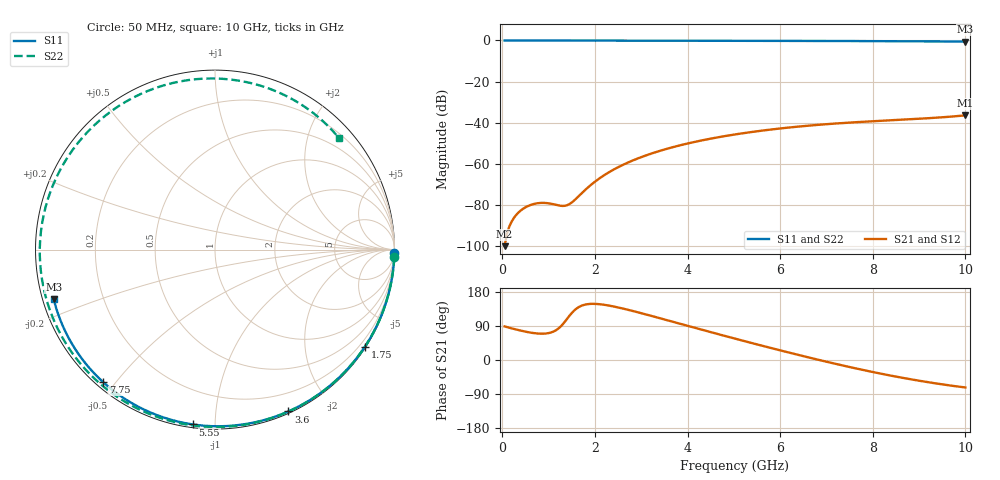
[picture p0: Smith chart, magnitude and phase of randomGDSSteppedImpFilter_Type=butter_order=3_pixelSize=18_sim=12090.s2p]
! freq	dB(S11)	phase(S11)	dB(S12)	phase(S12)
!  dB(S21)	phase(S21)	dB(S22)	phase(S22)
!S-par simulation data
#  GHz  S  DB  R 50
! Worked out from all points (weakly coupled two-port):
!   200 points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, 50 MHz to 10 GHz, reference 50 ohm
!   highest |S21| = -36.36 dB at 10 GHz (marker M1); lowest = -99.9 dB at 50 MHz (marker M2)
!   lowest |S11| = -0.5 dB at 10 GHz (marker M3), VSWR 32.47, Z = 1.57 - j7.52 ohm
!   |S11| at or under -10 dB: nowhere
!   |S22| runs from -0.6 to 0.0 dB; largest |S21 - S12| = 0
!   S11 on the Smith chart (normalised r, x): 50 MHz: open; 1.75 GHz: 0.03, -3.39; 3.6 GHz: 0.02, -1.55; 5.55 GHz: 0.02, -0.88; 7.75 GHz: 0.02, -0.47; 10 GHz: 0.03, -0.15
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0.05  -0.00 -1.0  -99.86 88.6  -99.86 88.6  -0.00 -2.4
0.35  -0.01 -6.7  -83.50 78.9  -83.50 78.9  -0.02 -16.4
0.65  -0.02 -12.3  -79.58 71.5  -79.58 71.5  -0.04 -30.1
0.9  -0.02 -17.1  -78.86 69.5  -78.86 69.5  -0.05 -41.4
1.4  -0.03 -26.4  -79.98 108.8  -79.98 108.8  -0.08 -62.9
1.5  -0.04 -28.3  -78.66 124.0  -78.66 124.0  -0.08 -67.0
1.75  -0.04 -32.9  -73.40 144.9  -73.40 144.9  -0.09 -77.0
2.1  -0.05 -39.2  -66.92 147.3  -66.92 147.3  -0.10 -90.4
2.45  -0.06 -45.5  -62.13 140.0  -62.13 140.0  -0.11 -103.1
2.9  -0.07 -53.5  -57.51 126.8  -57.51 126.8  -0.13 -118.4
3.4  -0.08 -62.2  -53.61 110.4  -53.61 110.4  -0.14 -134.2
3.6  -0.09 -65.6  -52.31 103.7  -52.31 103.7  -0.15 -140.2
4.3  -0.11 -77.3  -48.55 80.2  -48.55 80.2  -0.18 -160.4
5.05  -0.14 -89.4  -45.53 55.6  -45.53 55.6  -0.21 179.2
5.55  -0.16 -97.2  -43.94 39.5  -43.94 39.5  -0.24 166.0
6.1  -0.19 -105.7  -42.48 22.4  -42.48 22.4  -0.27 151.5
6.7  -0.22 -114.7  -41.19 4.2  -41.19 4.2  -0.30 135.7
7.25  -0.26 -122.8  -40.24 -11.7  -40.24 -11.7  -0.33 121.0
7.75  -0.30 -130.1  -39.53 -25.3  -39.53 -25.3  -0.37 107.4
8.35  -0.35 -138.8  -38.79 -40.3  -38.79 -40.3  -0.41 90.6
9.15  -0.43 -150.4  -37.81 -57.7  -37.81 -57.7  -0.50 67.5
10  -0.54 -162.9  -36.36 -72.6  -36.36 -72.6  -0.64 42.1
